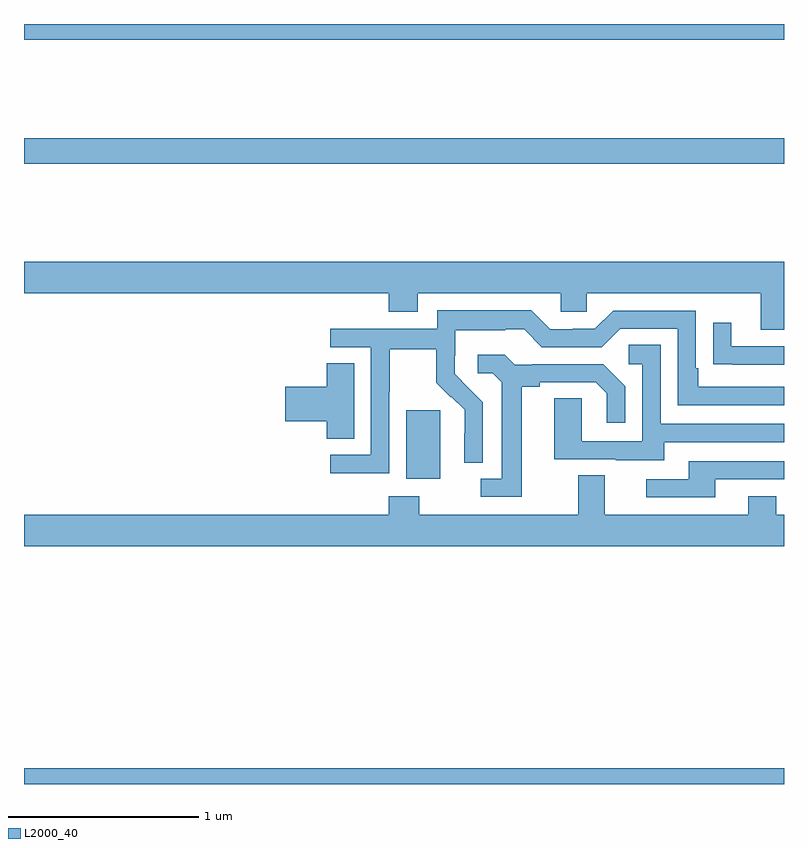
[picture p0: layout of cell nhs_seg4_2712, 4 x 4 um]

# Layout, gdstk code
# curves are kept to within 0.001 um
import gdstk
lib = gdstk.Library(unit=1e-6, precision=1e-09)
def R(c, l, rs):  # rectangles x0, y0, x1, y1
    for r in rs: c.add(gdstk.rectangle(r[:2], r[2:], *l))
def P(c, l, *ps):  # polygons
    for p in ps: c.add(gdstk.Polygon(p, *l))
L2000_40 = (2000, 40)

nhs_seg4_2712 = lib.new_cell('nhs_seg4_2712')
R(nhs_seg4_2712, L2000_40, [(253,796.9,257,796.984), (255.011,798.506,255.19,798.867), (253,800.164,257,800.3), (253,800.816,257,800.9)])
P(nhs_seg4_2712, L2000_40, [(257,799.648),(253,799.648),(253,799.484),(254.921,799.484),(254.921,799.385),(255.073,799.385),(255.073,799.484),(255.825,799.484),(255.825,799.386),(255.963,799.386),(255.963,799.484),(256.877,799.484),(256.877,799.29),(257,799.29)],
  [(254.922,798.964),(254.925,798.964),(254.925,799.188),(255.169,799.188),(255.169,799.013),(255.246,798.936),(255.249,798.939),(255.32,798.869),(255.32,798.746),(255.318,798.746),(255.318,798.592),(255.414,798.592),(255.414,798.91),(255.268,799.058),(255.268,799.155),(255.27,799.155),(255.27,799.289),(255.533,799.289),(255.533,799.293),(255.633,799.293),(255.726,799.2),(256.041,799.2),(256.137,799.296),(256.44,799.296),(256.44,798.894),(257,798.894),(257,798.99),(256.549,798.99),(256.549,799.087),(256.536,799.087),(256.536,799.392),(256.101,799.392),(256.005,799.296),(255.887,799.296),(255.887,799.293),(255.771,799.293),(255.671,799.393),(255.174,799.393),(255.174,799.296),(254.613,799.296),(254.613,799.2),(254.826,799.2),(254.826,798.633),(254.613,798.633),(254.613,798.535),(254.922,798.535)],
  [(257,799.203),(256.723,799.203),(256.723,799.327),(256.627,799.327),(256.627,799.108),(256.729,799.108),(256.729,799.107),(257,799.107)],
  [(256.369,798.699),(257,798.699),(257,798.795),(256.35,798.795),(256.35,799.211),(256.182,799.211),(256.182,799.11),(256.254,799.11),(256.254,798.705),(255.936,798.705),(255.936,798.929),(255.791,798.929),(255.791,798.609),(256.115,798.609),(256.115,798.605),(256.369,798.605)],
  [(255.619,798.992),(255.715,798.992),(255.715,799.014),(256.01,799.014),(256.067,798.957),(256.067,798.801),(256.164,798.801),(256.164,798.994),(256.048,799.11),(255.676,799.11),(255.676,799.107),(255.582,799.107),(255.53,799.159),(255.387,799.159),(255.387,799.062),(255.468,799.062),(255.515,799.015),(255.515,798.507),(255.405,798.507),(255.405,798.411),(255.619,798.411)],
  [(254.737,799.115),(254.594,799.115),(254.594,798.992),(254.376,798.992),(254.376,798.809),(254.594,798.809),(254.594,798.718),(254.737,798.718)],
  [(256.639,798.504),(257,798.504),(257,798.6),(256.499,798.6),(256.499,798.504),(256.275,798.504),(256.275,798.408),(256.639,798.408)],
  [(257,798.316),(256.959,798.316),(256.959,798.415),(256.811,798.415),(256.811,798.316),(256.057,798.316),(256.057,798.524),(255.917,798.524),(255.917,798.316),(255.081,798.316),(255.081,798.415),(254.921,798.415),(254.921,798.316),(253,798.316),(253,798.152),(257,798.152)])

lib.write_gds('nhs_seg4_2712.gds')
